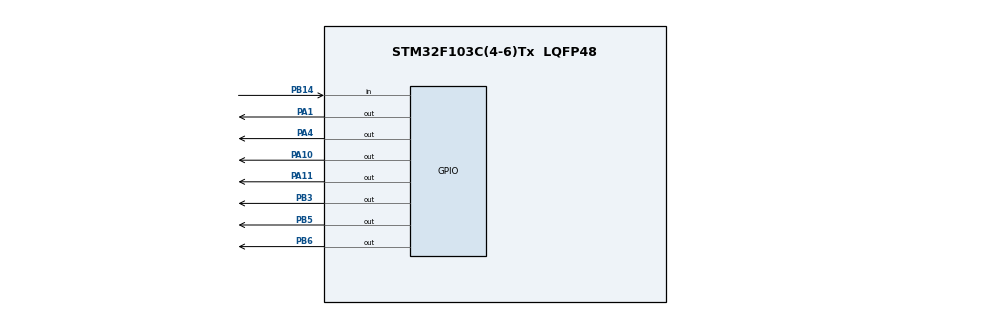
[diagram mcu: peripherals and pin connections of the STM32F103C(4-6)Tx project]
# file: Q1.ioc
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Mcu.Family=STM32F1
ProjectManager.StackSize=0x400
PA13.Signal=SYS_JTMS-SWDIO
ProjectManager.TargetToolchain=STM32CubeIDE
PB6.Signal=GPIO_Output
PA1.Signal=GPIO_Output
PB14.Signal=GPIO_Input
board=custom
RCC.APB2Freq_Value=8000000
PA14.Mode=Serial_Wire
PA13.Mode=Serial_Wire
Mcu.Name=STM32F103C(4-6)Tx
PB3.Signal=GPIO_Output
PA4.Signal=GPIO_Output
Mcu.Package=LQFP48
PB5.Signal=GPIO_Output
PA11.Signal=GPIO_Output
PA10.Signal=GPIO_Output
PA14.Signal=SYS_JTCK-SWCLK
ProjectManager.HeapSize=0x200
NVIC.PriorityGroup=NVIC_PRIORITYGROUP_4
RCC.APB1Freq_Value=8000000

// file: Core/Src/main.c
/* USER CODE BEGIN Header */
/**
  ******************************************************************************
  * @file           : main.c
  * @brief          : Main program body
  ******************************************************************************
  * @attention
  *
  * <h2><center>&copy; Copyright (c) 2021 STMicroelectronics.
  * All rights reserved.</center></h2>
  *
  * This software component is licensed by ST under BSD 3-Clause license,
  * the "License"; You may not use this file except in compliance with the
  * License. You may obtain a copy of the License at:
  *                        opensource.org/licenses/BSD-3-Clause
  *
  ******************************************************************************
  */
/* USER CODE END Header */
#include "main.h"

void SystemClock_Config(void);
static void MX_GPIO_Init(void);

int main(void)
{
  /* USER CODE BEGIN 1 */
int t = 400;
  /* USER CODE END 1 */

  /* MCU Configuration--------------------------------------------------------*/

  /* Reset of all peripherals, Initializes the Flash interface and the Systick. */
  HAL_Init();

  /* Configure the system clock */
  SystemClock_Config();

  /* Initialize all configured peripherals */
  MX_GPIO_Init();
  /* USER CODE BEGIN 2 */

  GPIOB -> BSRR = (1<<6); // 0
  HAL_Delay(t);

  GPIOA-> BSRR = (1<<1)+(1<<11); //1
  GPIOB -> BSRR = (1<<3)+(1<<5);
  HAL_Delay(t);

  GPIOA -> BSRR = (1<<17)+(1<<10)+(1<<27); //2
  GPIOB -> BSRR = (1<<19)+(1<<22);
  HAL_Delay(t);

  GPIOA -> BSRR = (1<<26); //3
  GPIOB -> BSRR = (1<<3);
  HAL_Delay(t);

  GPIOA -> BSRR = (1<<1)+(1<<11); //4
  GPIOB -> BSRR = (1<<21);
  HAL_Delay(t);

  GPIOA -> BSRR = (1<<17)+(1<<4)+(1<<27); //5
  HAL_Delay(t);

  GPIOB -> BSRR = (1<<19); //6
  HAL_Delay(t);

  GPIOA -> BSRR = (1<<20)+(1<<11); //7
  GPIOB -> BSRR = (1<<3)+(1<<5)+(1<<6);
  HAL_Delay(t);

  GPIOA -> BSRR = (1<<27); //8
  GPIOB -> BSRR = (1<<19)+(1<<21)+(1<<22);
  HAL_Delay(t);

  GPIOB -> BSRR = (1<<3); //9
  HAL_Delay(t);

  GPIOA -> BSRR = (1<<11); //A
  GPIOB -> BSRR = (1<<19);
  HAL_Delay(t);

  GPIOA -> BSRR = (1<<1)+(1<<4)+(1<<27);//B
  HAL_Delay(t);

  GPIOA -> BSRR = (1<<10); //c
  GPIOB -> BSRR = (1<<5);
  HAL_Delay(t);

  GPIOA -> BSRR = (1<<20)+(1<<26); //d
  HAL_Delay(t);

  GPIOA -> BSRR = (1<<17)+(1<<4)+(1<<10); //E
  GPIOB -> BSRR = (1<<21);
  HAL_Delay(t);

  GPIOA -> BSRR = (1<<4)+(1<<10)+(1<<11); //F
  HAL_Delay(t);

  /* USER CODE END 2 */

  /* Infinite loop */
  while (1)
  {

  }
}

void SystemClock_Config(void)
{
  RCC_OscInitTypeDef RCC_OscInitStruct = {0};
  RCC_ClkInitTypeDef RCC_ClkInitStruct = {0};

  /** Initializes the RCC Oscillators according to the specified parameters
  * in the RCC_OscInitTypeDef structure.
  */
  RCC_OscInitStruct.OscillatorType = RCC_OSCILLATORTYPE_HSI;
  RCC_OscInitStruct.HSIState = RCC_HSI_ON;
  RCC_OscInitStruct.HSICalibrationValue = RCC_HSICALIBRATION_DEFAULT;
  RCC_OscInitStruct.PLL.PLLState = RCC_PLL_NONE;
  if (HAL_RCC_OscConfig(&RCC_OscInitStruct) != HAL_OK)
  {
    Error_Handler();
  }
  /** Initializes the CPU, AHB and APB buses clocks
  */
  RCC_ClkInitStruct.ClockType = RCC_CLOCKTYPE_HCLK|RCC_CLOCKTYPE_SYSCLK
                              |RCC_CLOCKTYPE_PCLK1|RCC_CLOCKTYPE_PCLK2;
  RCC_ClkInitStruct.SYSCLKSource = RCC_SYSCLKSOURCE_HSI;
  RCC_ClkInitStruct.AHBCLKDivider = RCC_SYSCLK_DIV1;
  RCC_ClkInitStruct.APB1CLKDivider = RCC_HCLK_DIV1;
  RCC_ClkInitStruct.APB2CLKDivider = RCC_HCLK_DIV1;

  if (HAL_RCC_ClockConfig(&RCC_ClkInitStruct, FLASH_LATENCY_0) != HAL_OK)
  {
    Error_Handler();
  }
}

static void MX_GPIO_Init(void)
{
  GPIO_InitTypeDef GPIO_InitStruct = {0};

  /* GPIO Ports Clock Enable */
  __HAL_RCC_GPIOA_CLK_ENABLE();
  __HAL_RCC_GPIOB_CLK_ENABLE();

  /*Configure GPIO pin Output Level */
  HAL_GPIO_WritePin(GPIOA, GPIO_PIN_1|GPIO_PIN_4|GPIO_PIN_10|GPIO_PIN_11, GPIO_PIN_RESET);

  /*Configure GPIO pin Output Level */
  HAL_GPIO_WritePin(GPIOB, GPIO_PIN_3|GPIO_PIN_5|GPIO_PIN_6, GPIO_PIN_RESET);

  /*Configure GPIO pins : PA1 PA4 PA10 PA11 */
  GPIO_InitStruct.Pin = GPIO_PIN_1|GPIO_PIN_4|GPIO_PIN_10|GPIO_PIN_11;
  GPIO_InitStruct.Mode = GPIO_MODE_OUTPUT_PP;
  GPIO_InitStruct.Pull = GPIO_NOPULL;
  GPIO_InitStruct.Speed = GPIO_SPEED_FREQ_LOW;
  HAL_GPIO_Init(GPIOA, &GPIO_InitStruct);

  /*Configure GPIO pin : PB14 */
  GPIO_InitStruct.Pin = GPIO_PIN_14;
  GPIO_InitStruct.Mode = GPIO_MODE_INPUT;
  GPIO_InitStruct.Pull = GPIO_NOPULL;
  HAL_GPIO_Init(GPIOB, &GPIO_InitStruct);

  /*Configure GPIO pins : PB3 PB5 PB6 */
  GPIO_InitStruct.Pin = GPIO_PIN_3|GPIO_PIN_5|GPIO_PIN_6;
  GPIO_InitStruct.Mode = GPIO_MODE_OUTPUT_PP;
  GPIO_InitStruct.Pull = GPIO_NOPULL;
  GPIO_InitStruct.Speed = GPIO_SPEED_FREQ_LOW;
  HAL_GPIO_Init(GPIOB, &GPIO_InitStruct);

}

void Error_Handler(void)
{
  __disable_irq();
  while (1)
  {
  }
}

/************************ (C) COPYRIGHT STMicroelectronics *****END OF FILE****/
